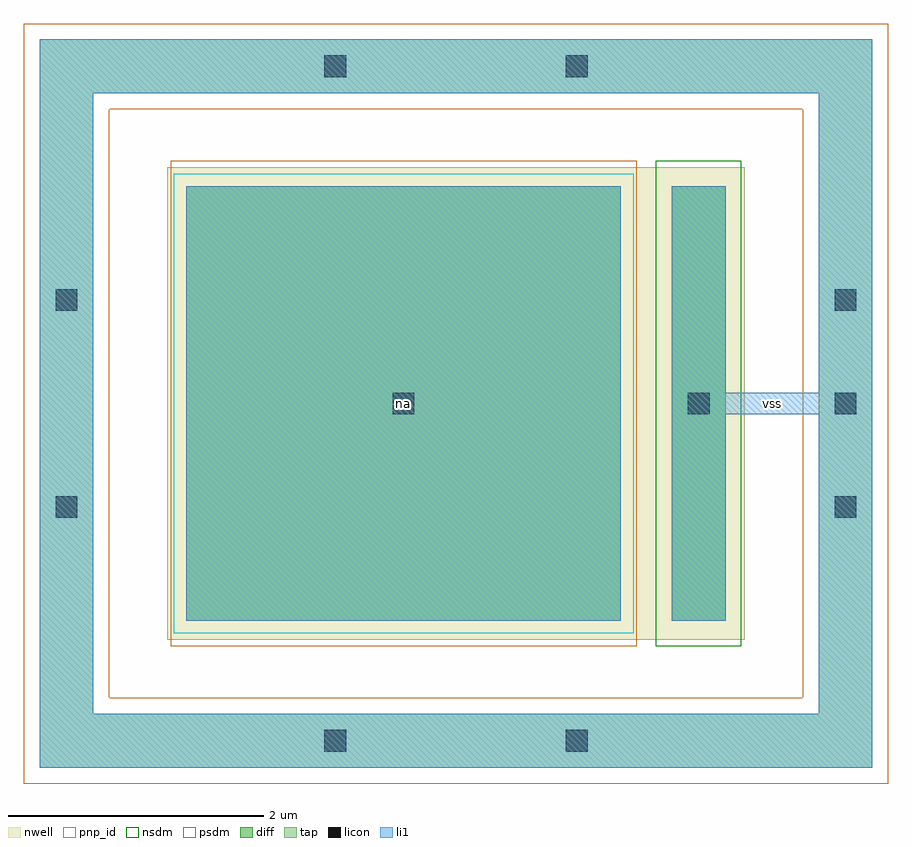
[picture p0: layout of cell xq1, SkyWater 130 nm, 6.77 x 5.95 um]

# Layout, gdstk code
import gdstk
lib = gdstk.Library(unit=1e-6, precision=1e-09)
def R(c, l, rs):  # rectangles x0, y0, x1, y1
    for r in rs: c.add(gdstk.rectangle(r[:2], r[2:], *l))
def P(c, l, *ps):  # polygons
    for p in ps: c.add(gdstk.Polygon(p, *l))
nwell = (64, 20)
diff = (65, 20)
tap = (65, 44)
licon = (66, 44)
li1 = (67, 20)
pnp_id = (82, 44)
nsdm = (93, 44)
psdm = (94, 20)

bjt_array = lib.new_cell('bjt_array')
R(bjt_array, nwell, [(-0.15,-0.15,4.37,3.55)])
R(bjt_array, diff, [(0,0,3.4,3.4), (3.8,0,4.22,3.4)])
R(bjt_array, tap, [(3.8,0,4.22,3.4)])
P(bjt_array, tap, [(-1.15,-1.15),(-1.15,4.13),(-0.73,4.13),(-0.73,-0.73),(4.95,-0.73),(4.95,4.13),(-1.15,4.13),(-1.15,4.55),(5.37,4.55),(5.37,-1.15)])
R(bjt_array, licon, [(1.08,-1.025,1.25,-0.855), (2.97,-1.025,3.14,-0.855), (-1.025,0.805,-0.855,0.975), (5.075,0.805,5.245,0.975), (1.615,1.615,1.785,1.785), (3.925,1.615,4.095,1.785), (-1.025,2.425,-0.855,2.595), (5.075,2.425,5.245,2.595), (1.08,4.255,1.25,4.425), (2.97,4.255,3.14,4.425)])
R(bjt_array, li1, [(0,0,3.4,3.4), (3.8,0,4.22,3.4)])
P(bjt_array, li1, [(-1.15,-1.15),(-1.15,4.13),(-0.73,4.13),(-0.73,-0.73),(4.95,-0.73),(4.95,4.13),(-1.15,4.13),(-1.15,4.55),(5.37,4.55),(5.37,-1.15)])
R(bjt_array, pnp_id, [(-0.1,-0.1,3.5,3.5)])
R(bjt_array, nsdm, [(3.675,-0.2,4.345,3.6)])
R(bjt_array, psdm, [(-0.125,-0.2,3.525,3.6)])
P(bjt_array, psdm, [(-1.275,-1.275),(-1.275,4.005),(-0.605,4.005),(-0.605,-0.605),(4.825,-0.605),(4.825,4.005),(-1.275,4.005),(-1.275,4.675),(5.495,4.675),(5.495,-1.275)])

array__xq1_array = lib.new_cell('array__xq1_array')
array__xq1_array.add(gdstk.Reference(bjt_array, (0,0)))

xq1 = lib.new_cell('xq1')
R(xq1, tap, [(4.95,1.49,5.37,1.91)])
R(xq1, licon, [(5.075,1.615,5.245,1.785)])
R(xq1, li1, [(4.95,1.49,5.37,1.91), (3.9,1.7,4.12,1.87)])
xq1.add(gdstk.FlexPath([(4.01,1.7),(5.16,1.7)], 0.17, ends="flush", simple_path=True, layer=67, datatype=20))  # li1
xq1.add(gdstk.Reference(array__xq1_array, (0,0)))
xq1.add(gdstk.Label('vss', (4.585,1.7), layer=67, texttype=5))
xq1.add(gdstk.Label('na', (1.7,1.7), layer=67, texttype=5))

lib.write_gds('xq1.gds')
